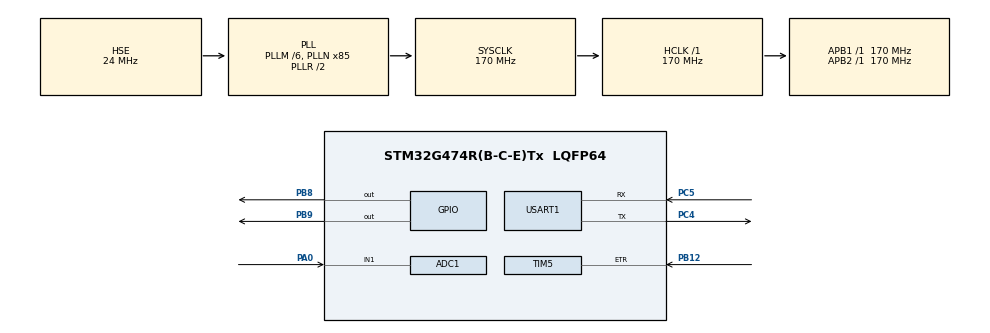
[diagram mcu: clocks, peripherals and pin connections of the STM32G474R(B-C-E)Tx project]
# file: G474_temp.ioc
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ADC1.Channel-0\#ChannelRegularConversion=ADC_CHANNEL_1
ADC1.ContinuousConvMode=DISABLE
ADC1.DMAContinuousRequests=DISABLE
ADC1.ExternalTrigConv=ADC_EXTERNALTRIG_T3_TRGO
ADC1.NbrOfConversionFlag=1
ADC1.OffsetNumber-0\#ChannelRegularConversion=ADC_OFFSET_NONE
ADC1.Rank-0\#ChannelRegularConversion=1
ADC1.SamplingTime-0\#ChannelRegularConversion=ADC_SAMPLETIME_2CYCLES_5
ADC1.master=1
Dma.ADC1.0.Direction=DMA_PERIPH_TO_MEMORY
Dma.ADC1.0.EventEnable=DISABLE
Dma.ADC1.0.Instance=DMA1_Channel1
Dma.ADC1.0.MemDataAlignment=DMA_MDATAALIGN_HALFWORD
Dma.ADC1.0.MemInc=DMA_MINC_ENABLE
Dma.ADC1.0.Mode=DMA_CIRCULAR
Dma.ADC1.0.PeriphDataAlignment=DMA_PDATAALIGN_HALFWORD
Dma.ADC1.0.PeriphInc=DMA_PINC_DISABLE
Dma.ADC1.0.Polarity=HAL_DMAMUX_REQ_GEN_RISING
Dma.ADC1.0.Priority=DMA_PRIORITY_LOW
Dma.ADC1.0.RequestNumber=1
Dma.ADC1.0.SignalID=NONE
Dma.ADC1.0.SyncEnable=DISABLE
Dma.ADC1.0.SyncPolarity=HAL_DMAMUX_SYNC_NO_EVENT
Dma.ADC1.0.SyncRequestNumber=1
Dma.ADC1.0.SyncSignalID=NONE
Dma.Request0=ADC1
Mcu.Family=STM32G4
Mcu.Name=STM32G474R(B-C-E)Tx
Mcu.Package=LQFP64
NVIC.DMA1_Channel1_IRQn=true\:0\:0\:false\:false\:true\:false\:true\:true
NVIC.PriorityGroup=NVIC_PRIORITYGROUP_4
NVIC.TIM4_IRQn=true\:0\:0\:false\:false\:true\:true\:true\:true
NVIC.TIM5_IRQn=true\:0\:0\:false\:false\:true\:true\:true\:true
NVIC.USART1_IRQn=true\:0\:0\:false\:false\:true\:true\:true\:true
PA0.Mode=IN1-Single-Ended
PA0.Signal=ADC1_IN1
PA13.Mode=Serial_Wire
PA13.Signal=SYS_JTMS-SWDIO
PA14.Mode=Serial_Wire
PA14.Signal=SYS_JTCK-SWCLK
PB12.Signal=S_TIM5_ETR
PB8-BOOT0.GPIO_FM8=__NULL
PB8-BOOT0.GPIO_ModeDefaultOutputPP=GPIO_MODE_OUTPUT_OD
PB8-BOOT0.GPIO_PuPd=GPIO_PULLUP
PB8-BOOT0.GPIO_Speed=GPIO_SPEED_FREQ_VERY_HIGH
PB8-BOOT0.Signal=GPIO_Output
PB9.GPIO_ModeDefaultOutputPP=GPIO_MODE_OUTPUT_OD
PB9.GPIO_PuPd=GPIO_PULLUP
PB9.GPIO_Speed=GPIO_SPEED_FREQ_VERY_HIGH
PB9.Signal=GPIO_Output
PC14-OSC32_IN.Mode=LSE-External-Oscillator
PC14-OSC32_IN.Signal=RCC_OSC32_IN
PC15-OSC32_OUT.Mode=LSE-External-Oscillator
PC15-OSC32_OUT.Signal=RCC_OSC32_OUT
PC4.Mode=Asynchronous
PC4.Signal=USART1_TX
PC5.Mode=Asynchronous
PC5.Signal=USART1_RX
PF0-OSC_IN.Mode=HSE-External-Oscillator
PF0-OSC_IN.Signal=RCC_OSC_IN
PF1-OSC_OUT.Mode=HSE-External-Oscillator
PF1-OSC_OUT.Signal=RCC_OSC_OUT
ProjectManager.HeapSize=0x200
ProjectManager.StackSize=0x400
ProjectManager.TargetToolchain=MDK-ARM V5.32
RCC.ADC12Freq_Value=170000000
RCC.ADC345Freq_Value=170000000
RCC.AHBFreq_Value=170000000
RCC.APB1Freq_Value=170000000
RCC.APB1TimFreq_Value=170000000
RCC.APB2Freq_Value=170000000
RCC.APB2TimFreq_Value=170000000
RCC.CortexFreq_Value=170000000
RCC.EXTERNAL_CLOCK_VALUE=12288000
RCC.HCLKFreq_Value=170000000
RCC.HSE_VALUE=24000000
RCC.HSI48_VALUE=48000000
RCC.HSI_VALUE=16000000
RCC.PLLM=RCC_PLLM_DIV6
RCC.PLLN=85
RCC.PLLSourceVirtual=RCC_PLLSOURCE_HSE
RCC.RTCClockSelection=RCC_RTCCLKSOURCE_LSE
RCC.SYSCLKFreq_VALUE=170000000
RCC.SYSCLKSource=RCC_SYSCLKSOURCE_PLLCLK
RCC.USBFreq_Value=170000000
RCC.VCOOutputFreq_Value=340000000
SH.S_TIM5_ETR.0=TIM5_ETR,ClockSourceETR_Mode2
STMicroelectronics.X-CUBE-ALGOBUILD.1.3.0.LibraryCcDSPOoLibraryJjDSPOoLibrary=true
TIM3.TIM_MasterOutputTrigger=TIM_TRGO_UPDATE
TIM4.PeriodNoDither=10000-1
TIM4.Prescaler=17000-1
TIM5.AutoReloadPreload=TIM_AUTORELOAD_PRELOAD_ENABLE
USART1.VirtualMode-Asynchronous=VM_ASYNC
VP_STMicroelectronics.X-CUBE-ALGOBUILD_VS_DSPOoLibraryJjLibrary_1.3.0_1.3.0.Mode=DSPOoLibraryJjLibrary
VP_SYS_VS_DBSignals.Mode=DisableDeadBatterySignals
VP_TIM3_VS_ClockSourceINT.Mode=Internal
VP_TIM4_VS_ClockSourceINT.Mode=Internal
board=NUCLEO-G474RE

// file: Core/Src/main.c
/* USER CODE BEGIN Header */
/**
  ******************************************************************************
  * @file           : main.c
  * @brief          : Main program body
  ******************************************************************************
  * @attention
  *
  * Copyright (c) 2023 STMicroelectronics.
  * All rights reserved.
  *
  * This software is licensed under terms that can be found in the LICENSE file
  * in the root directory of this software component.
  * If no LICENSE file comes with this software, it is provided AS-IS.
  *
  ******************************************************************************
  */
/* USER CODE END Header */
#include "main.h"
#include "adc.h"
#include "dma.h"
#include "tim.h"
#include "usart.h"
#include "gpio.h"

/* USER CODE BEGIN Includes */
#include "stdlib.h"
#include "delay.h"
#include "myusart1.h"
#include "OLED_I2C.h"
#include "FFT.h"
/* USER CODE END Includes */

/* USER CODE BEGIN PTD */
uint8_t	start = 0;
uint32_t FRE = 102400;
uint32_t FQ; 			// 用来存放频率
uint32_t CNT_1 = 0; 	// 0-4294967295内用这个记录
uint32_t CNT_2 = 0; 	// 超出4294967295位后 用这个记录超过的次数
/* USER CODE END PTD */

void SystemClock_Config(void);

int main(void)
{

  /* MCU Configuration--------------------------------------------------------*/

  /* Reset of all peripherals, Initializes the Flash interface and the Systick. */
  HAL_Init();

  /* Configure the system clock */
  SystemClock_Config();

  /* Initialize all configured peripherals */
  MX_GPIO_Init();
  MX_DMA_Init();
  MX_USART1_UART_Init();
  MX_ADC1_Init();
  MX_TIM3_Init();
  MX_TIM4_Init();
  MX_TIM5_Init();
  /* USER CODE BEGIN 2 */
  delay_init(170);
  MyUSART1_Init(&huart1);
  OLED_Init();
  OLED_CLS();
  OLED_ShowCN(0,0,4);						//频
  OLED_ShowCN(16,0,5);						//率
  OLED_ShowStr(100,2,(uint8_t*)"Hz",2);		//单位

	HAL_TIM_Base_Start_IT(&htim4); // 启动定时器3进行1S定时
	HAL_TIM_Base_Start_IT(&htim5); // 启动定时器2进行外部脉冲计数
	HAL_TIM_Base_Start(&htim3);
  /* USER CODE END 2 */

  /* Infinite loop */
  while (1)
  {

    /* USER CODE BEGIN 3 */
	  if(start)
	  {
		ADC_Get();
		fft();
		start=0;
	  }
  }
  /* USER CODE END 3 */
}

void SystemClock_Config(void)
{
  RCC_OscInitTypeDef RCC_OscInitStruct = {0};
  RCC_ClkInitTypeDef RCC_ClkInitStruct = {0};

  /** Configure the main internal regulator output voltage
  */
  HAL_PWREx_ControlVoltageScaling(PWR_REGULATOR_VOLTAGE_SCALE1_BOOST);

  /** Initializes the RCC Oscillators according to the specified parameters
  * in the RCC_OscInitTypeDef structure.
  */
  RCC_OscInitStruct.OscillatorType = RCC_OSCILLATORTYPE_HSE;
  RCC_OscInitStruct.HSEState = RCC_HSE_ON;
  RCC_OscInitStruct.PLL.PLLState = RCC_PLL_ON;
  RCC_OscInitStruct.PLL.PLLSource = RCC_PLLSOURCE_HSE;
  RCC_OscInitStruct.PLL.PLLM = RCC_PLLM_DIV6;
  RCC_OscInitStruct.PLL.PLLN = 85;
  RCC_OscInitStruct.PLL.PLLP = RCC_PLLP_DIV2;
  RCC_OscInitStruct.PLL.PLLQ = RCC_PLLQ_DIV2;
  RCC_OscInitStruct.PLL.PLLR = RCC_PLLR_DIV2;
  if (HAL_RCC_OscConfig(&RCC_OscInitStruct) != HAL_OK)
  {
    Error_Handler();
  }

  /** Initializes the CPU, AHB and APB buses clocks
  */
  RCC_ClkInitStruct.ClockType = RCC_CLOCKTYPE_HCLK|RCC_CLOCKTYPE_SYSCLK
                              |RCC_CLOCKTYPE_PCLK1|RCC_CLOCKTYPE_PCLK2;
  RCC_ClkInitStruct.SYSCLKSource = RCC_SYSCLKSOURCE_PLLCLK;
  RCC_ClkInitStruct.AHBCLKDivider = RCC_SYSCLK_DIV1;
  RCC_ClkInitStruct.APB1CLKDivider = RCC_HCLK_DIV1;
  RCC_ClkInitStruct.APB2CLKDivider = RCC_HCLK_DIV1;

  if (HAL_RCC_ClockConfig(&RCC_ClkInitStruct, FLASH_LATENCY_4) != HAL_OK)
  {
    Error_Handler();
  }
}

/* USER CODE BEGIN 4 */
void HAL_TIM_PeriodElapsedCallback(TIM_HandleTypeDef *htim)
{
	static uint8_t 	cnt	   =  0;
	static int Fre[2] = {0};
    if (htim == (&htim4)) // 定时器中断1S触发一次
    {
        CNT_1 = __HAL_TIM_GET_COUNTER(&htim5); 								// 读取CNT计数值
        //		CNT_1 = TIM2->CNT;// 读取CNT寄存器这样也可以
        FQ = CNT_1 + CNT_2 * (__HAL_TIM_GET_AUTORELOAD(&htim5) + 1); 		// 获取频率值
        __HAL_TIM_SET_COUNTER(&htim5, 0);// 设置CNT为0
		Fre[cnt++] = FQ;
		OLED_ShowInt(0,2,FQ,2);
		if(cnt == 2)
		{
			if(abs(Fre[0]-Fre[1]) < 5 && start == 0)
			{
				if(FQ>15000)
					FRE	 = 1024000;
				else if(FQ>1000)
					FRE	 = 102400;
				else if(FQ>100)
					FRE	 = 10240;
				else
					FRE	 = 1024;
				start = 1;
			}

			cnt = 0;
		}
        CNT_1 = 0;
        CNT_2 = 0;
    }
    if (htim == (&htim5)) // 计数值计满，产生更新中断
    {
        CNT_2++; // 记满后，+1，标志多了一个满量程数
    }
}
/* USER CODE END 4 */

void Error_Handler(void)
{
  __disable_irq();
  while (1)
  {
  }
}
